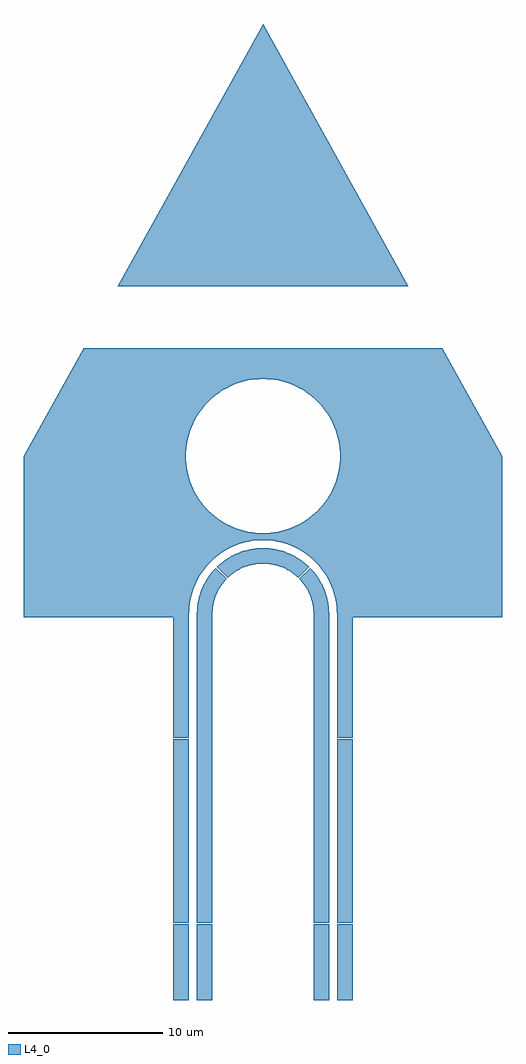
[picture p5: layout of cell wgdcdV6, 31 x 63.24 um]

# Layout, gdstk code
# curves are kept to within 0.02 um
import gdstk
lib = gdstk.Library(unit=1e-6, precision=1e-09)
def R(c, l, rs):  # rectangles x0, y0, x1, y1
    for r in rs: c.add(gdstk.rectangle(r[:2], r[2:], *l))
def P(c, l, *ps):  # polygons
    for p in ps: c.add(gdstk.Polygon(p, *l))
L4_0 = (4, 0)

wgdcdv6 = lib.new_cell('wgdcdV6')
R(wgdcdv6, L4_0, [(-5.8,-35.24,-4.8,-30.34), (-4.28,-35.24,-3.28,-30.34), (3.28,-35.24,4.28,-30.34), (4.8,-35.24,5.8,-30.34), (-5.8,-30.24,-4.8,-18.34), (4.8,-30.24,5.8,-18.34)])
P(wgdcdv6, L4_0, [(-4.28,-30.24),(-4.275,-10.03),(-4.234,-9.612),(-4.152,-9.2),(-3.913,-8.506),(-3.559,-7.862),(-3.061,-7.249),(-2.354,-7.956),(-2.682,-8.351),(-2.999,-8.911),(-3.182,-9.443),(-3.276,-10.079),(-3.28,-30.24)],
  [(3.28,-30.24),(3.276,-10.079),(3.182,-9.443),(2.999,-8.911),(2.682,-8.351),(2.354,-7.956),(3.061,-7.249),(3.559,-7.862),(3.775,-8.222),(3.954,-8.602),(4.096,-8.998),(4.198,-9.405),(4.279,-10.135),(4.28,-30.24)],
  [(-2.284,-7.886),(-2.991,-7.179),(-2.378,-6.681),(-1.83,-6.371),(-1.242,-6.144),(-0.524,-5.992),(-0.105,-5.961),(0.42,-5.981),(0.835,-6.042),(1.343,-6.176),(1.83,-6.371),(2.2,-6.569),(2.633,-6.866),(2.991,-7.179),(2.284,-7.886),(2.018,-7.654),(1.686,-7.427),(1.329,-7.241),(1.029,-7.126),(0.64,-7.023),(0.321,-6.976),(-0.402,-6.985),(-0.952,-7.101),(-1.402,-7.275),(-1.889,-7.558)],
  [(-5.8,-18.24),(-5.8,-10.44),(-15.5,-10.44),(-15.5,-5),(0,-5),(0.734,-4.946),(1.451,-4.785),(1.913,-4.619),(2.357,-4.41),(2.778,-4.157),(3.172,-3.865),(3.705,-3.358),(4.016,-2.978),(4.289,-2.571),(4.52,-2.138),(4.708,-1.684),(4.85,-1.215),(4.946,-0.734),(4.994,-0.245),(4.994,0.245),(4.946,0.734),(4.85,1.215),(4.708,1.684),(4.52,2.138),(4.289,2.571),(4.016,2.978),(3.705,3.358),(3.358,3.705),(2.978,4.016),(2.571,4.289),(2.138,4.52),(1.684,4.708),(1.215,4.85),(0.734,4.946),(0.245,4.994),(-0.49,4.976),(-0.975,4.904),(-1.451,4.785),(-1.913,4.619),(-2.357,4.41),(-2.778,4.157),(-3.172,3.865),(-3.705,3.358),(-4.016,2.978),(-4.289,2.571),(-4.52,2.138),(-4.708,1.684),(-4.904,0.975),(-4.994,0.245),(-4.994,-0.245),(-4.946,-0.734),(-4.785,-1.451),(-4.619,-1.913),(-4.41,-2.357),(-4.157,-2.778),(-3.865,-3.172),(-3.358,-3.705),(-2.978,-4.016),(-2.571,-4.289),(-2.138,-4.52),(-1.684,-4.708),(-1.215,-4.85),(-0.734,-4.946),(0,-5),(-15.5,-5),(-15.5,0),(-11.625,7),(11.625,7),(15.5,0),(15.5,-10.44),(5.8,-10.44),(5.8,-18.24),(4.8,-18.24),(4.794,-10.004),(4.748,-9.536),(4.656,-9.074),(4.435,-8.403),(4.233,-7.977),(3.991,-7.573),(3.71,-7.195),(3.223,-6.683),(2.667,-6.249),(2.263,-6.007),(1.837,-5.805),(1.393,-5.647),(0.936,-5.532),(0.47,-5.463),(0,-5.44),(-0.47,-5.463),(-0.936,-5.532),(-1.617,-5.721),(-2.052,-5.901),(-2.468,-6.123),(-3.045,-6.53),(-3.394,-6.846),(-3.71,-7.195),(-4.117,-7.772),(-4.339,-8.188),(-4.519,-8.623),(-4.708,-9.304),(-4.794,-10.004),(-4.8,-18.24)],
  [(-9.411,11),(0,28),(9.411,11)])

lib.write_gds('wgdcdV6.gds')
